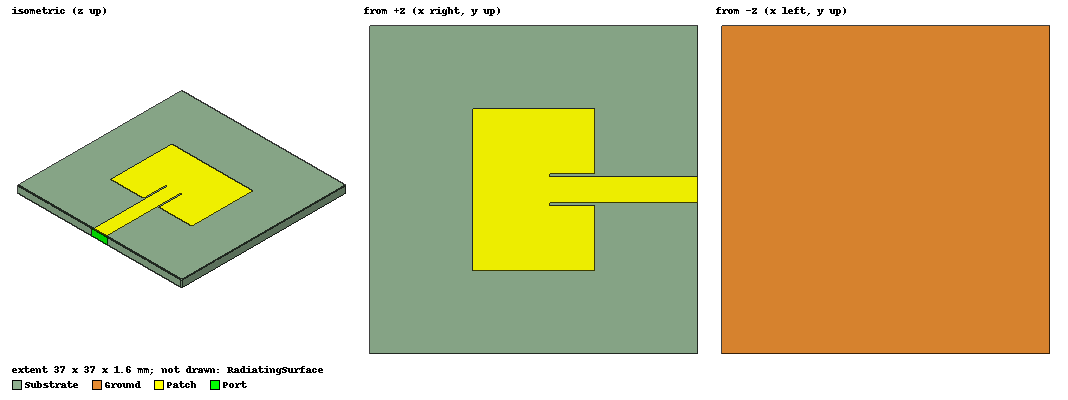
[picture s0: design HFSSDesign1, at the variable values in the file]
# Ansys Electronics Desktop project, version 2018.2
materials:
  vacuum: permittivity=1
  FR4_epoxy: permittivity=4.4 dielectric_loss_tangent=0.02

design HFSSDesign1 (HFSS, DrivenModal, model units mm)
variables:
  W_patch = 18.3mm
  L_patch = 13.8mm
  G = 37mm
  Port_w = 2.5mm
  Cut_width = 3.5mm
  feed_w = 2.895mm
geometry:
  Ground = rectangle(corner=(-G/2, -G/2, 0mm), x_size=G, y_size=G)
  Substrate [FR4_epoxy] = box(corner=(-G/2, -G/2, 0mm), size=(G, G, 1.6mm))
  Patch = rectangle(corner=(-L_patch/2, -W_patch/2, 1.6mm), x_size=L_patch, y_size=W_patch)
  Patch_cut = rectangle(corner=((L_patch/2)-5.1mm, -Cut_width/2, 1.6mm), x_size=(13.8/2) mm, y_size=Cut_width)
  Patch.subtract(Patch_cut)
  Feed = rectangle(corner=(1.8mm, -feed_w/2, 1.6mm), x_size=G/2-1.8mm, y_size=feed_w)
  Patch.unite(Feed)
  Port = rectangle(corner=(G/2, -(feed_w+0.5mm)/2, 1.6mm), y_size=feed_w+0.5mm, z_size=-1.6mm)
  RadiatingSurface [vacuum] = region(absolute_offset=20mm on all sides)
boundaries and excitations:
  Open1: Radiation Objects=RadiatingSurface
  PerfE1: Perfect E Objects=Patch
  PerfE2: Perfect E Objects=Ground
  1: Lumped Port Objects=Port Modes{Mode1{IntLine{middle of Port.edge(z opposite corner) -> middle of Port.edge(z at corner)} CharImp=Zpi RenormImp=50ohm}} Impedance=50ohm
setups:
  Setup1: HfssDriven Frequency=5GHz MaxDeltaS=0.02 MaximumPasses=10 MinimumPasses=1 MinimumConvergedPasses=1 PercentRefinement=30 BasisOrder=1 PortAccuracy=2
    sweep Sweep: 4GHz to 7GHz, 200 points; Type=Fast SaveFields
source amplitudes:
  1:1: 1W 0deg
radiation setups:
  3D: Infinite Sphere Theta=0deg..180deg step 2deg Phi=-180deg..180deg step 2deg
  Elevation: Infinite Sphere Theta=-180deg..180deg step 1deg Phi=0deg..90deg step 90deg
  Azimuth: Infinite Sphere Theta=90deg..90deg step 0deg Phi=-180deg..180deg step 1deg
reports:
  S Parameter Plot 1: dB(S(1,1)) vs Freq on Setup1 : Sweep; markers m2 at 4.9999834GHz, m7 at 4.8916863GHz, m17 at 5.0766598GHz
  Directivity Plot 1: dB(DirTotal) vs Freq on Setup1 : Sweep, 3D [Freq=5.01005GHz Phi=0deg Theta=0deg]; markers m1 at 5.0100503GHz
  Gain Plot 1: dB(GainTotal) vs Freq on Setup1 : Sweep, 3D [Freq=5.01005GHz Phi=0deg Theta=0deg]; markers m1 at 5.0100503GHz
  Active VSWR Plot 3: dB(ActiveVSWR(1:1)) vs Freq on Setup1 : Sweep [L_patch=13.8mm G=all Cut_width=3.5mm feed_w=2.895mm]; markers m1 at 5.0002213GHz
  impedance matching: re(Z(1,1)), im(Z(1,1)) vs Freq on Setup1 : Sweep; markers m1 at 5.0000018GHz, m2 at 5.0001201GHz
  Directivity Plot 2: dB(DirTotal) vs Freq on Setup1 : Sweep, 3D [Phi=0deg Theta=0deg]; markers m1 at 4.9999786GHz
  Gain Plot 2: dB(GainTotal) vs Freq on Setup1 : Sweep, 3D [Phi=0deg Theta=0deg]; markers m1 at 4.9999958GHz
